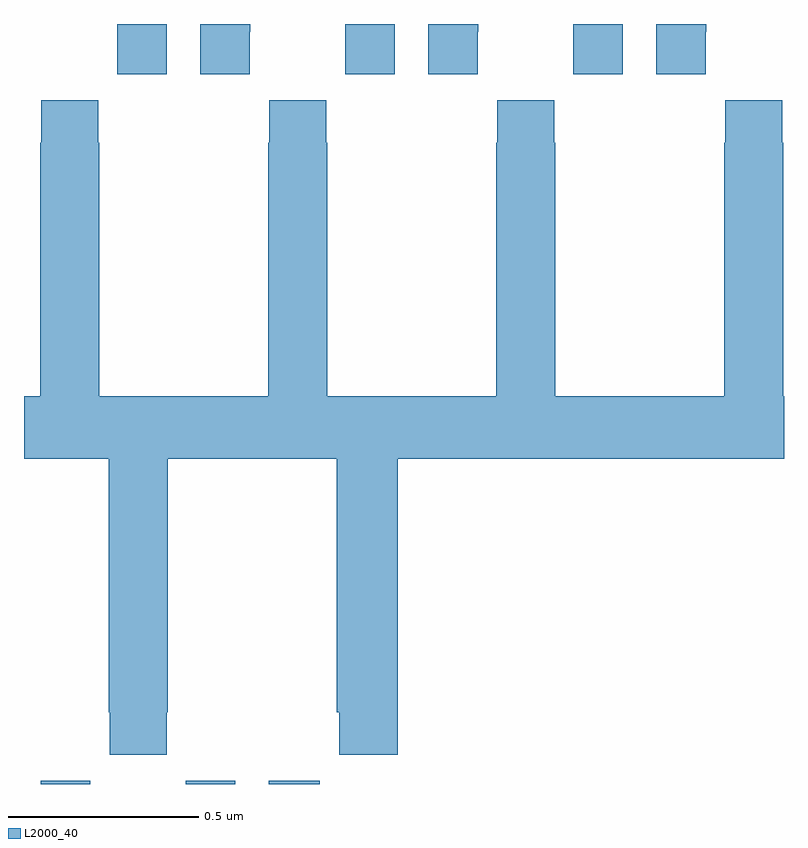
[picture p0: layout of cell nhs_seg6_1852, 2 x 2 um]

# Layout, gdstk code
import gdstk
lib = gdstk.Library(unit=1e-6, precision=1e-09)
def R(c, l, rs):  # rectangles x0, y0, x1, y1
    for r in rs: c.add(gdstk.rectangle(r[:2], r[2:], *l))
def P(c, l, *ps):  # polygons
    for p in ps: c.add(gdstk.Polygon(p, *l))
L2000_40 = (2000, 40)

nhs_seg6_1852 = lib.new_cell('nhs_seg6_1852')
R(nhs_seg6_1852, L2000_40, [(135.044,926.5,135.174,926.509), (135.426,926.5,135.556,926.509), (135.644,926.5,135.778,926.509)])
P(nhs_seg6_1852, L2000_40, [(135.376,928.5),(135.245,928.5),(135.245,928.48),(135.246,928.48),(135.246,928.368),(135.376,928.368)],
  [(135.594,928.48),(135.595,928.48),(135.595,928.5),(135.464,928.5),(135.464,928.368),(135.594,928.368)],
  [(135.976,928.5),(135.845,928.5),(135.845,928.48),(135.846,928.48),(135.846,928.368),(135.976,928.368)],
  [(136.194,928.48),(136.195,928.48),(136.195,928.5),(136.064,928.5),(136.064,928.368),(136.194,928.368)],
  [(136.576,928.5),(136.445,928.5),(136.445,928.48),(136.446,928.48),(136.446,928.368),(136.576,928.368)],
  [(136.794,928.48),(136.795,928.48),(136.795,928.5),(136.664,928.5),(136.664,928.368),(136.794,928.368)],
  [(135.375,926.689),(135.378,926.689),(135.378,927.356),(135.823,927.356),(135.823,926.689),(135.829,926.689),(135.829,926.577),(135.983,926.577),(135.983,927.356),(137,927.356),(137,927.52),(136.998,927.52),(136.998,928.187),(136.995,928.187),(136.995,928.3),(136.845,928.3),(136.845,928.187),(136.843,928.187),(136.843,927.52),(136.398,927.52),(136.398,928.187),(136.395,928.187),(136.395,928.3),(136.245,928.3),(136.245,928.187),(136.243,928.187),(136.243,927.52),(135.798,927.52),(135.798,928.187),(135.795,928.187),(135.795,928.3),(135.645,928.3),(135.645,928.187),(135.643,928.187),(135.643,927.52),(135.198,927.52),(135.198,928.187),(135.195,928.187),(135.195,928.3),(135.045,928.3),(135.045,928.187),(135.043,928.187),(135.043,927.52),(135,927.52),(135,927.356),(135.223,927.356),(135.223,926.689),(135.225,926.689),(135.225,926.577),(135.375,926.577)])

lib.write_gds('nhs_seg6_1852.gds')
